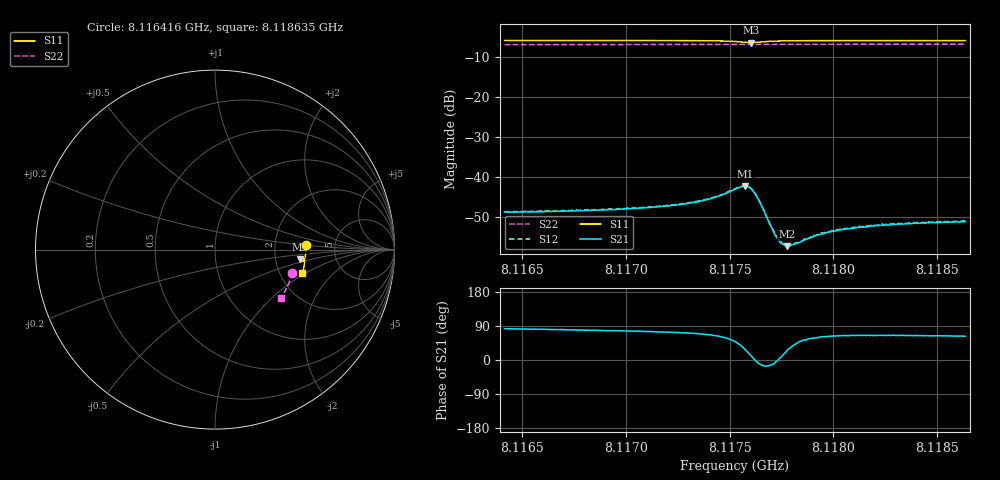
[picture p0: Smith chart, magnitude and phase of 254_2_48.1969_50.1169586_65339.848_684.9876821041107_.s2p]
#  HZ  S  RI  R  50.00
! Rohde & Schwarz Vector Network Analyzer
! Rohde-Schwarz,ZNB20-2Port,1311601062101988,3.16
! Created: UTC 3/20/2024, 11:47:23 AM
! freq[Hz]  re:S11  im:S11  re:S21  im:S21  re:S12  im:S12  re:S22  im:S22
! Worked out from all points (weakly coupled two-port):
!   401 points, 8.116416 GHz to 8.118635 GHz, reference 50 ohm
!   highest |S21| = -42.43 dB at 8.117576 GHz (marker M1); lowest = -57.4 dB at 8.117775 GHz (marker M2)
!   lowest |S11| = -6.4 dB at 8.117603 GHz (marker M3), VSWR 2.82, Z = 138 - j19.4 ohm
!   |S11| at or under -10 dB: nowhere
!   |S22| runs from -6.9 to -6.8 dB; largest |S21 - S12| = 0.00018
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8.1164161e9  0.5062 0.0272  0.000455 0.00359  0.000495 0.00362  0.4302 -0.13
8.1167879e9  0.5064 -0.00121  0.000708 0.00367  0.000793 0.00377  0.4231 -0.1549
8.1171596e9  0.5044 -0.0306  0.00116 0.00404  0.00125 0.00408  0.4145 -0.1793
8.117265e9  0.5032 -0.0396  0.00138 0.00425  0.00145 0.00432  0.4116 -0.1862
8.117376e9  0.5007 -0.0498  0.00191 0.00468  0.00196 0.00474  0.4085 -0.1934
8.1174536e9  0.4967 -0.0582  0.00271 0.0051  0.00282 0.00518  0.4063 -0.1983
8.1175258e9  0.4877 -0.0652  0.00461 0.00522  0.00473 0.00522  0.4037 -0.203
8.1175757e9  0.4764 -0.0625  0.00672 0.00347  0.00687 0.00347  0.402 -0.2057
8.1176034e9  0.4739 -0.0544  0.0069 0.00126  0.00705 0.00124  0.4011 -0.207
8.1176201e9  0.476 -0.0497  0.00626 7.2e-05  0.00636 1.05e-05  0.4007 -0.2079
8.1176367e9  0.4799 -0.0468  0.00525 -0.000699  0.00538 -0.00076  0.4007 -0.2087
8.1177033e9  0.4934 -0.0506  0.00221 -0.000485  0.00222 -0.0005  0.3991 -0.213
8.117731e9  0.4959 -0.0543  0.00167 -6.14e-05  0.00169 -8.38e-05  0.3984 -0.2148
8.1177532e9  0.497 -0.0571  0.00143 0.000277  0.0014 0.000278  0.3978 -0.2164
8.1177754e9  0.4979 -0.06  0.00123 0.00055  0.00126 0.000552  0.3972 -0.2179
8.1178032e9  0.4984 -0.0632  0.00113 0.00085  0.00113 0.000853  0.3963 -0.2197
8.1178975e9  0.4987 -0.0729  0.00093 0.00146  0.000973 0.00146  0.3933 -0.2256
8.1179363e9  0.4985 -0.0765  0.000916 0.00164  0.000981 0.0017  0.3921 -0.2281
8.1180362e9  0.4975 -0.085  0.00094 0.00196  0.000966 0.00195  0.3887 -0.2343
8.1181194e9  0.4963 -0.0918  0.000976 0.00212  0.00104 0.00212  0.3858 -0.2394
8.1182692e9  0.4942 -0.1035  0.00105 0.00224  0.0011 0.00231  0.3807 -0.2485
8.1186354e9  0.4875 -0.1308  0.00125 0.00243  0.00129 0.00249  0.3669 -0.2702
